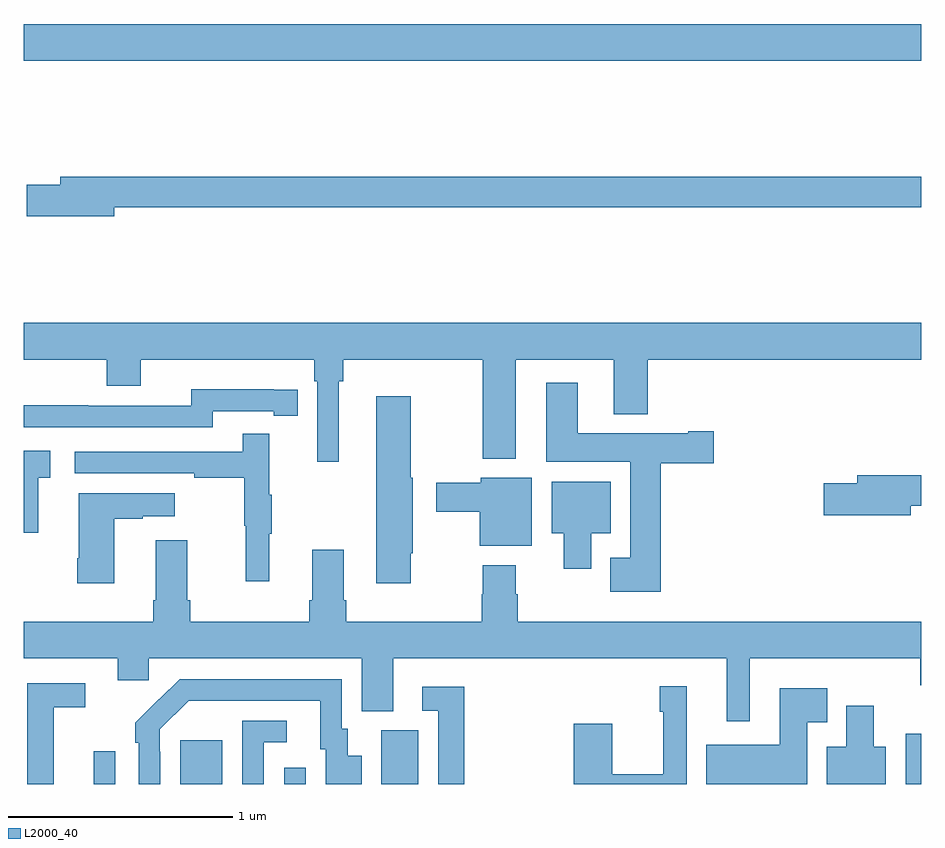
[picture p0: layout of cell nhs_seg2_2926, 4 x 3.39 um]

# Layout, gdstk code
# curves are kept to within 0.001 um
import gdstk
lib = gdstk.Library(unit=1e-6, precision=1e-09)
def R(c, l, rs):  # rectangles x0, y0, x1, y1
    for r in rs: c.add(gdstk.rectangle(r[:2], r[2:], *l))
def P(c, l, *ps):  # polygons
    for p in ps: c.add(gdstk.Polygon(p, *l))
L2000_40 = (2000, 40)

nhs_seg2_2926 = lib.new_cell('nhs_seg2_2926')
R(nhs_seg2_2926, L2000_40, [(265.311,589.8,265.407,589.945), (265.697,589.8,265.885,589.996), (266.16,589.8,266.256,589.873), (266.594,589.8,266.758,590.04), (268.931,589.8,269,590.023), (265,593.024,269,593.188)])
P(nhs_seg2_2926, L2000_40, [(265.402,592.372),(269,592.372),(269,592.508),(265.163,592.508),(265.163,592.472),(265.014,592.472),(265.014,592.33),(265.402,592.33)],
  [(266.404,591.596),(266.423,591.596),(266.423,591.692),(267.046,591.692),(267.046,591.251),(267.193,591.251),(267.193,591.692),(267.629,591.692),(267.629,591.449),(267.782,591.449),(267.782,591.692),(269,591.692),(269,591.856),(265,591.856),(265,591.692),(265.37,591.692),(265.37,591.575),(265.522,591.575),(265.522,591.692),(266.294,591.692),(266.294,591.596),(266.307,591.596),(266.307,591.237),(266.404,591.237)],
  [(267.839,591.23),(268.075,591.23),(268.075,591.372),(267.962,591.372),(267.962,591.364),(267.469,591.364),(267.469,591.589),(267.329,591.589),(267.329,591.236),(267.704,591.236),(267.704,590.809),(267.614,590.809),(267.614,590.657),(267.839,590.657)],
  [(265.842,591.462),(266.114,591.462),(266.114,591.442),(266.222,591.442),(266.222,591.558),(266.114,591.558),(266.114,591.559),(265.746,591.559),(265.746,591.486),(265.286,591.486),(265.286,591.488),(265,591.488),(265,591.39),(265.842,591.39)],
  [(266.724,590.829),(266.734,590.829),(266.734,591.165),(266.724,591.165),(266.724,591.529),(266.57,591.529),(266.57,590.694),(266.724,590.694)],
  [(266.093,590.915),(266.104,590.915),(266.104,591.089),(266.093,591.089),(266.093,591.361),(265.975,591.361),(265.975,591.282),(265.227,591.282),(265.227,591.186),(265.759,591.186),(265.759,591.166),(265.983,591.166),(265.983,590.952),(265.99,590.952),(265.99,590.703),(266.093,590.703)],
  [(265.064,591.165),(265.117,591.165),(265.117,591.286),(265,591.286),(265,590.919),(265.064,590.919)],
  [(268.954,591.04),(269,591.04),(269,591.176),(268.715,591.176),(268.715,591.14),(268.566,591.14),(268.566,590.998),(268.954,590.998)],
  [(267.265,591.166),(267.036,591.166),(267.036,591.142),(266.838,591.142),(266.838,591.013),(267.032,591.013),(267.032,590.861),(267.265,590.861)],
  [(267.529,590.918),(267.616,590.918),(267.616,591.148),(267.353,591.148),(267.353,590.918),(267.407,590.918),(267.407,590.76),(267.529,590.76)],
  [(265.402,590.983),(265.529,590.983),(265.529,590.993),(265.672,590.993),(265.672,591.097),(265.244,591.097),(265.244,590.806),(265.237,590.806),(265.237,590.694),(265.402,590.694)],
  [(268.237,590.36),(268.996,590.36),(268.996,590.24),(269,590.24),(269,590.524),(267.201,590.524),(267.201,590.645),(267.193,590.645),(267.193,590.776),(267.046,590.776),(267.046,590.645),(267.041,590.645),(267.041,590.524),(266.438,590.524),(266.438,590.62),(266.425,590.62),(266.425,590.845),(266.285,590.845),(266.285,590.62),(266.273,590.62),(266.273,590.524),(265.742,590.524),(265.742,590.62),(265.729,590.62),(265.729,590.887),(265.589,590.887),(265.589,590.62),(265.577,590.62),(265.577,590.524),(265,590.524),(265,590.36),(265.418,590.36),(265.418,590.262),(265.557,590.262),(265.557,590.36),(266.507,590.36),(266.507,590.125),(266.647,590.125),(266.647,590.36),(268.133,590.36),(268.133,590.079),(268.237,590.079)],
  [(265.608,589.943),(265.605,589.943),(265.605,590.043),(265.734,590.172),(266.321,590.172),(266.321,589.956),(266.345,589.956),(266.345,589.8),(266.506,589.8),(266.506,589.927),(266.443,589.927),(266.443,590.046),(266.418,590.046),(266.418,590.268),(265.694,590.268),(265.497,590.073),(265.497,589.985),(265.512,589.985),(265.512,589.8),(265.608,589.8)],
  [(265.133,590.142),(265.273,590.142),(265.273,590.25),(265.015,590.25),(265.015,589.8),(265.133,589.8)],
  [(267.955,590.236),(267.834,590.236),(267.834,590.123),(267.851,590.123),(267.851,589.844),(267.622,589.844),(267.622,590.068),(267.452,590.068),(267.452,589.8),(267.955,589.8)],
  [(266.963,590.233),(266.775,590.233),(266.775,590.127),(266.847,590.127),(266.847,589.8),(266.963,589.8)],
  [(268.492,590.075),(268.582,590.075),(268.582,590.227),(268.37,590.227),(268.37,589.975),(268.043,589.975),(268.043,589.8),(268.492,589.8)],
  [(268.843,589.966),(268.789,589.966),(268.789,590.149),(268.667,590.149),(268.667,589.966),(268.58,589.966),(268.58,589.8),(268.843,589.8)],
  [(266.07,589.986),(266.173,589.986),(266.173,590.082),(265.974,590.082),(265.974,589.8),(266.07,589.8)])

lib.write_gds('nhs_seg2_2926.gds')
